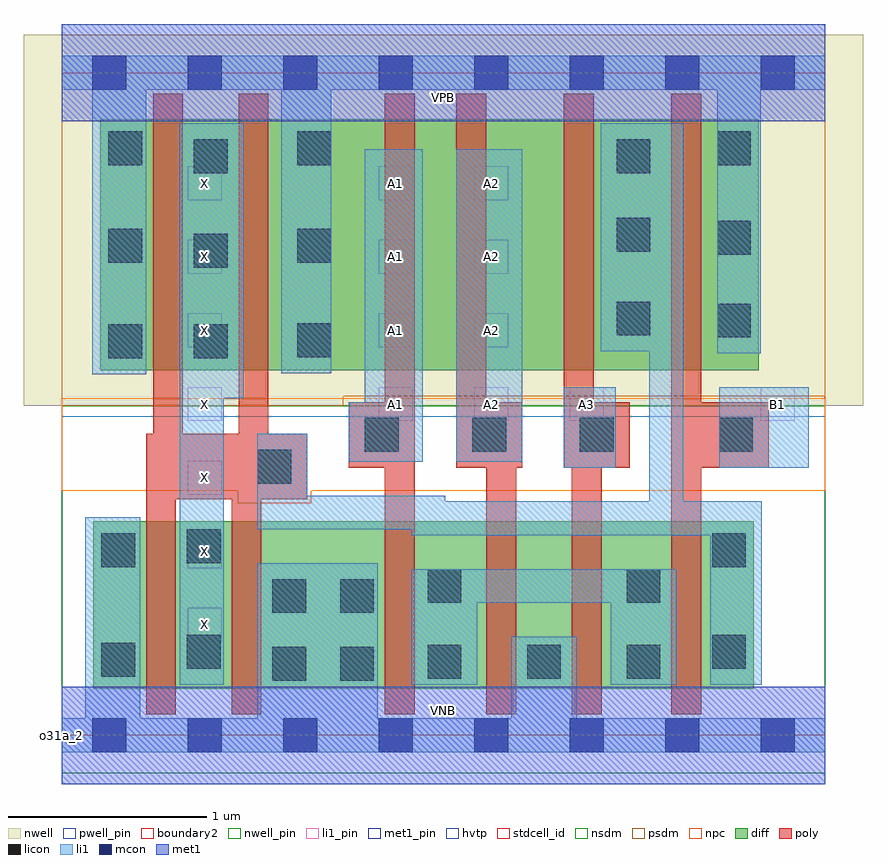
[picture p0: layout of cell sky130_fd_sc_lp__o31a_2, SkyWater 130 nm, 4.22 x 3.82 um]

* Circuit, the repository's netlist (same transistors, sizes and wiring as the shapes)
* Copyright 2020 The SkyWater PDK Authors
*
* Licensed under the Apache License, Version 2.0 (the "License");
* you may not use this file except in compliance with the License.
* You may obtain a copy of the License at
*
*     https://www.apache.org/licenses/LICENSE-2.0
*
* Unless required by applicable law or agreed to in writing, software
* distributed under the License is distributed on an "AS IS" BASIS,
* WITHOUT WARRANTIES OR CONDITIONS OF ANY KIND, either express or implied.
* See the License for the specific language governing permissions and
* limitations under the License.
*
* SPDX-License-Identifier: Apache-2.0

.SUBCKT sky130_fd_sc_lp__o31a_2 A1 A2 A3 B1 VGND VNB VPB VPWR X
*.PININFO A1:I A2:I A3:I B1:I VGND:I VNB:I VPB:I VPWR:I X:O
MMPA0 VPWR A1 sndA1 VPB sky130_fd_pr__pfet_01v8_hvt m=1 w=1.26U l=0.15U mult=1
+ sa=0.265 sb=0.265 sd=0.28 area=0.063 perim=1.14
MMPA1 sndA1 A2 sndA2 VPB sky130_fd_pr__pfet_01v8_hvt m=1 w=1.26U l=0.15U mult=1
+ sa=0.265 sb=0.265 sd=0.28 area=0.063 perim=1.14
MMPA2 sndA2 A3 y VPB sky130_fd_pr__pfet_01v8_hvt m=1 w=1.26U l=0.15U mult=1 sa=0.265
+ sb=0.265 sd=0.28 area=0.063 perim=1.14
MMPB0 VPWR B1 y VPB sky130_fd_pr__pfet_01v8_hvt m=1 w=1.26U l=0.15U mult=1 sa=0.265
+ sb=0.265 sd=0.28 area=0.063 perim=1.14
MMIPX X y VPWR VPB sky130_fd_pr__pfet_01v8_hvt m=2 w=1.26U l=0.15U mult=1 sa=0.265
+ sb=0.265 sd=0.28 area=0.063 perim=1.14
MMNA0 pndA A1 VGND VNB sky130_fd_pr__nfet_01v8 m=1 w=0.84U l=0.15U mult=1 sa=0.265
+ sb=0.265 sd=0.28 area=0.063 perim=1.14
MMNA1 pndA A2 VGND VNB sky130_fd_pr__nfet_01v8 m=1 w=0.84U l=0.15U mult=1 sa=0.265
+ sb=0.265 sd=0.28 area=0.063 perim=1.14
MMNA2 pndA A3 VGND VNB sky130_fd_pr__nfet_01v8 m=1 w=0.84U l=0.15U mult=1 sa=0.265
+ sb=0.265 sd=0.28 area=0.063 perim=1.14
MMNB0 y B1 pndA VNB sky130_fd_pr__nfet_01v8 m=1 w=0.84U l=0.15U mult=1 sa=0.265
+ sb=0.265 sd=0.28 area=0.063 perim=1.14
MMINX X y VGND VNB sky130_fd_pr__nfet_01v8 m=2 w=0.84U l=0.15U mult=1 sa=0.265
+ sb=0.265 sd=0.28 area=0.063 perim=1.14
.ENDS sky130_fd_sc_lp__o31a_2

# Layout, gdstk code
import gdstk
lib = gdstk.Library(unit=1e-6, precision=1e-09)
def R(c, l, rs):  # rectangles x0, y0, x1, y1
    for r in rs: c.add(gdstk.rectangle(r[:2], r[2:], *l))
def A(c, l, x, y, w, h, nx, ny, dx, dy):  # array of equal rectangles
    R(c, l, [(x+i*dx, y+j*dy, x+i*dx+w, y+j*dy+h) for i in range(nx) for j in range(ny)])
def P(c, l, *ps):  # polygons
    for p in ps: c.add(gdstk.Polygon(p, *l))
nwell_pin = (64, 16)
nwell = (64, 20)
diff = (65, 20)
poly = (66, 20)
licon = (66, 44)
li1_pin = (67, 16)
li1 = (67, 20)
mcon = (67, 44)
met1_pin = (68, 16)
met1 = (68, 20)
hvtp = (78, 44)
stdcell_id = (81, 4)
nsdm = (93, 44)
psdm = (94, 20)
npc = (95, 20)
pwell_pin = (122, 16)
boundary2 = (236, 0)

sky130_fd_sc_lp__o31a_2 = lib.new_cell('sky130_fd_sc_lp__o31a_2')
R(sky130_fd_sc_lp__o31a_2, nwell_pin, [(0,3.085,3.84,3.33)])
R(sky130_fd_sc_lp__o31a_2, nwell, [(-0.19,1.655,4.03,3.52)])
R(sky130_fd_sc_lp__o31a_2, diff, [(0.16,0.235,3.48,1.075), (0.195,1.835,3.505,3.095)])
P(sky130_fd_sc_lp__o31a_2, poly, [(1.235,1.515),(1.04,1.515),(1.04,3.225),(0.89,3.225),(0.89,1.515),(0.61,1.515),(0.61,3.225),(0.46,3.225),(0.46,1.515),(0.425,1.515),(0.425,0.105),(0.575,0.105),(0.575,1.185),(0.855,1.185),(0.855,0.105),(1.005,0.105),(1.005,1.185),(1.235,1.185)],
  [(1.775,3.225),(1.625,3.225),(1.625,1.675),(1.445,1.675),(1.445,1.345),(1.625,1.345),(1.625,0.105),(1.775,0.105)],
  [(2.315,1.675),(2.135,1.675),(2.135,3.225),(1.985,3.225),(1.985,1.345),(2.135,1.345),(2.135,0.105),(2.285,0.105),(2.285,1.345),(2.315,1.345)],
  [(2.855,1.675),(2.675,1.675),(2.675,3.225),(2.525,3.225),(2.525,1.345),(2.565,1.345),(2.565,0.105),(2.715,0.105),(2.715,1.345),(2.855,1.345)],
  [(3.555,1.675),(3.215,1.675),(3.215,3.225),(3.065,3.225),(3.065,0.105),(3.215,0.105),(3.215,1.345),(3.555,1.345)])
A(sky130_fd_sc_lp__o31a_2, licon, 1.84, 0.285, 0.17, 0.17, 3, 1, 0.5, 0)
A(sky130_fd_sc_lp__o31a_2, licon, 1.525, 1.425, 0.17, 0.17, 3, 1, 0.54, 0)
R(sky130_fd_sc_lp__o31a_2, licon, [(1.06,0.275,1.23,0.445), (1.4,0.275,1.57,0.445), (0.2,0.295,0.37,0.465), (0.63,0.335,0.8,0.505), (3.27,0.335,3.44,0.505), (1.06,0.615,1.23,0.785), (1.4,0.615,1.57,0.785), (1.84,0.665,2.01,0.835), (2.84,0.665,3.01,0.835), (0.2,0.845,0.37,1.015), (3.27,0.845,3.44,1.015), (0.63,0.865,0.8,1.035), (0.985,1.265,1.155,1.435), (3.305,1.425,3.475,1.595), (0.235,1.895,0.405,2.065), (0.665,1.895,0.835,2.065), (1.185,1.9,1.355,2.07), (3.295,2,3.465,2.17), (2.79,2.01,2.96,2.18), (0.665,2.35,0.835,2.52), (0.235,2.375,0.405,2.545), (1.185,2.375,1.355,2.545), (3.295,2.415,3.465,2.585), (2.79,2.43,2.96,2.6), (0.665,2.825,0.835,2.995), (2.79,2.825,2.96,2.995), (0.235,2.865,0.405,3.035), (1.185,2.865,1.355,3.035), (3.295,2.865,3.465,3.035)])
A(sky130_fd_sc_lp__o31a_2, li1_pin, 0.635, 0.47, 0.17, 0.17, 1, 7, 0, 0.37)
A(sky130_fd_sc_lp__o31a_2, li1_pin, 1.595, 1.58, 0.17, 0.17, 3, 1, 0.48, 0)
A(sky130_fd_sc_lp__o31a_2, li1_pin, 1.595, 1.95, 0.17, 0.17, 1, 3, 0, 0.37)
A(sky130_fd_sc_lp__o31a_2, li1_pin, 2.075, 1.95, 0.17, 0.17, 1, 3, 0, 0.37)
R(sky130_fd_sc_lp__o31a_2, li1_pin, [(3.515,1.58,3.685,1.75)])
R(sky130_fd_sc_lp__o31a_2, li1, [(2.525,1.345,2.785,1.75), (3.305,1.345,3.755,1.75), (1.985,1.375,2.315,2.945)])
P(sky130_fd_sc_lp__o31a_2, li1, [(3.295,1.92),(3.295,3.245),(1.355,3.245),(1.355,1.82),(1.105,1.82),(1.105,3.245),(0.425,3.245),(0.425,1.815),(0.155,1.815),(0.155,3.245),(0,3.245),(0,3.415),(3.84,3.415),(3.84,3.245),(3.515,3.245),(3.515,1.92)],
  [(2.26,0.085),(2.26,0.495),(2.59,0.495),(2.59,0.085),(3.84,0.085),(3.84,-0.085),(0,-0.085),(0,0.085),(0.12,0.085),(0.12,1.095),(0.395,1.095),(0.395,0.085),(0.985,0.085),(0.985,0.865),(1.59,0.865),(1.59,0.085)],
  [(3.52,1.175),(3.125,1.175),(3.125,3.075),(2.71,3.075),(2.71,1.93),(2.955,1.93),(2.955,1.175),(1.93,1.175),(1.93,1.205),(1.235,1.205),(1.235,1.515),(0.985,1.515),(0.985,1.035),(1.76,1.035),(1.76,1.005),(3.26,1.005),(3.26,0.255),(3.52,0.255)],
  [(0.595,3.075),(0.915,3.075),(0.915,1.695),(0.815,1.695),(0.815,0.255),(0.595,0.255)],
  [(1.815,2.945),(1.525,2.945),(1.525,1.675),(1.445,1.675),(1.445,1.375),(1.815,1.375)],
  [(2.76,0.255),(2.76,0.665),(2.09,0.665),(2.09,0.255),(1.76,0.255),(1.76,0.835),(3.09,0.835),(3.09,0.255)])
A(sky130_fd_sc_lp__o31a_2, mcon, 0.155, -0.085, 0.17, 0.17, 8, 2, 0.48, 3.33)
R(sky130_fd_sc_lp__o31a_2, met1_pin, [(0,0,3.84,0.245), (0,3.085,3.84,3.33)])
R(sky130_fd_sc_lp__o31a_2, met1, [(0,-0.245,3.84,0.245), (0,3.085,3.84,3.575)])
R(sky130_fd_sc_lp__o31a_2, hvtp, [(0,1.6,3.84,3.33)])
R(sky130_fd_sc_lp__o31a_2, stdcell_id, [(0,0,3.84,3.33)])
R(sky130_fd_sc_lp__o31a_2, nsdm, [(0,-0.19,3.84,1.655)])
P(sky130_fd_sc_lp__o31a_2, psdm, [(3.84,3.52),(0,3.52),(0,1.655),(1.415,1.655),(1.415,1.705),(3.84,1.705)])
P(sky130_fd_sc_lp__o31a_2, npc, [(3.84,1.695),(0,1.695),(0,1.23),(0.885,1.23),(0.885,1.165),(1.255,1.165),(1.255,1.23),(3.84,1.23)])
R(sky130_fd_sc_lp__o31a_2, pwell_pin, [(0,0,3.84,0.245)])
R(sky130_fd_sc_lp__o31a_2, boundary2, [(0,0,3.84,3.33)])
sky130_fd_sc_lp__o31a_2.add(gdstk.Label('VNB', (1.92,0.123), layer=64, texttype=59))
sky130_fd_sc_lp__o31a_2.add(gdstk.Label('VPB', (1.92,3.208), layer=64, texttype=5))
sky130_fd_sc_lp__o31a_2.add(gdstk.Label('o31a_2', (0,0), layer=83, texttype=44))
sky130_fd_sc_lp__o31a_2.add(gdstk.Label('VPWR', (1.92,3.208), layer=68, texttype=5))
sky130_fd_sc_lp__o31a_2.add(gdstk.Label('VGND', (1.92,0.123), layer=68, texttype=5))
sky130_fd_sc_lp__o31a_2.add(gdstk.Label('X', (0.72,0.555), layer=67, texttype=5))
sky130_fd_sc_lp__o31a_2.add(gdstk.Label('X', (0.72,0.925), layer=67, texttype=5))
sky130_fd_sc_lp__o31a_2.add(gdstk.Label('X', (0.72,1.295), layer=67, texttype=5))
sky130_fd_sc_lp__o31a_2.add(gdstk.Label('X', (0.72,1.665), layer=67, texttype=5))
sky130_fd_sc_lp__o31a_2.add(gdstk.Label('X', (0.72,2.035), layer=67, texttype=5))
sky130_fd_sc_lp__o31a_2.add(gdstk.Label('X', (0.72,2.405), layer=67, texttype=5))
sky130_fd_sc_lp__o31a_2.add(gdstk.Label('X', (0.72,2.775), layer=67, texttype=5))
sky130_fd_sc_lp__o31a_2.add(gdstk.Label('A1', (1.68,1.665), layer=67, texttype=5))
sky130_fd_sc_lp__o31a_2.add(gdstk.Label('A1', (1.68,2.035), layer=67, texttype=5))
sky130_fd_sc_lp__o31a_2.add(gdstk.Label('A1', (1.68,2.405), layer=67, texttype=5))
sky130_fd_sc_lp__o31a_2.add(gdstk.Label('A1', (1.68,2.775), layer=67, texttype=5))
sky130_fd_sc_lp__o31a_2.add(gdstk.Label('A2', (2.16,1.665), layer=67, texttype=5))
sky130_fd_sc_lp__o31a_2.add(gdstk.Label('A2', (2.16,2.035), layer=67, texttype=5))
sky130_fd_sc_lp__o31a_2.add(gdstk.Label('A2', (2.16,2.405), layer=67, texttype=5))
sky130_fd_sc_lp__o31a_2.add(gdstk.Label('A2', (2.16,2.775), layer=67, texttype=5))
sky130_fd_sc_lp__o31a_2.add(gdstk.Label('A3', (2.64,1.665), layer=67, texttype=5))
sky130_fd_sc_lp__o31a_2.add(gdstk.Label('B1', (3.6,1.665), layer=67, texttype=5))

lib.write_gds('sky130_fd_sc_lp__o31a_2.gds')
